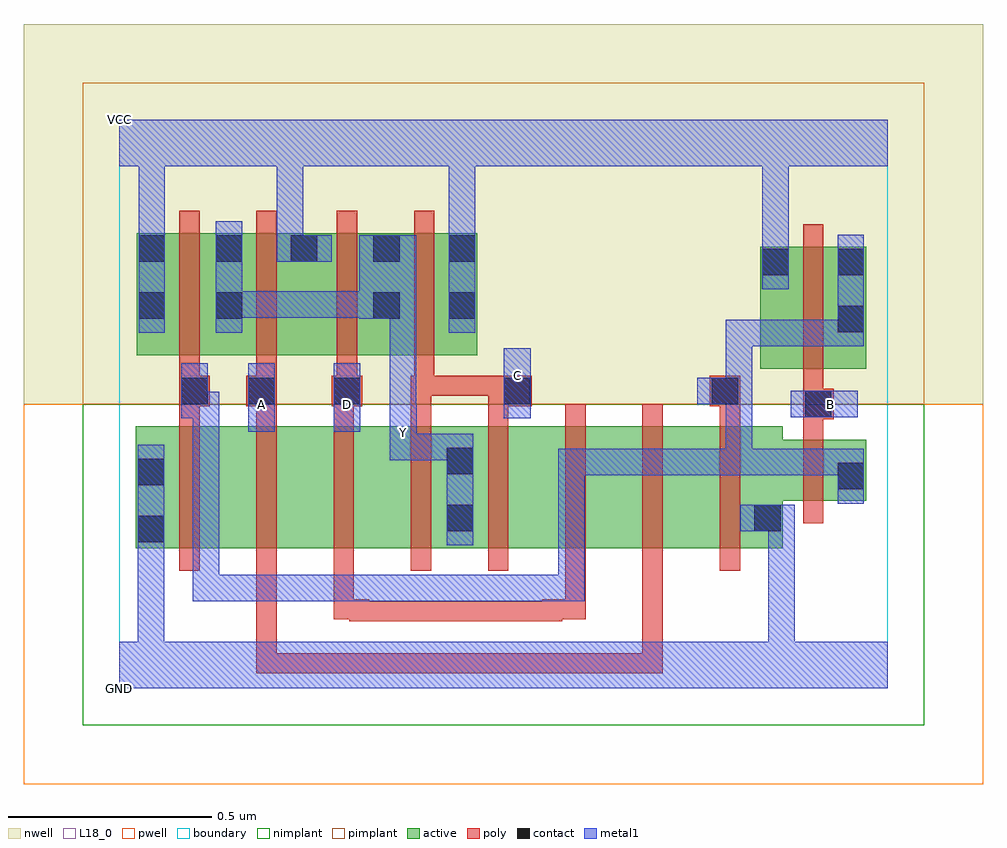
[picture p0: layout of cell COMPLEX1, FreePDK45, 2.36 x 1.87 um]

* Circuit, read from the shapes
.subckt COMPLEX1 A B C D GND VCC Y
M1 n1 n2 GND VSUBS nfet w=0.3u l=0.05u
M2 n3 A n1 VSUBS nfet w=0.3u l=0.05u
M3 n4 D n3 VSUBS nfet w=0.3u l=0.05u
M4 Y C n4 VSUBS nfet w=0.3u l=0.05u
M5 n5 C Y VSUBS nfet w=0.3u l=0.05u
M6 n6 D n5 VSUBS nfet w=0.3u l=0.05u
M7 n7 A n6 VSUBS nfet w=0.3u l=0.05u
M8 GND n2 n7 VSUBS nfet w=0.3u l=0.05u
M9 n2 B GND VSUBS nfet w=0.15u l=0.05u
M10 Y n2 VCC n8 pfet w=0.3u l=0.05u
M11 VCC A Y n8 pfet w=0.3u l=0.05u
M12 Y D VCC n8 pfet w=0.3u l=0.05u
M13 VCC C Y n8 pfet w=0.3u l=0.05u
M14 n2 B VCC n8 pfet w=0.3u l=0.05u
.ends

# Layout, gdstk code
import gdstk
lib = gdstk.Library(unit=1e-6, precision=1e-09)
def R(c, l, rs):  # rectangles x0, y0, x1, y1
    for r in rs: c.add(gdstk.rectangle(r[:2], r[2:], *l))
def A(c, l, x, y, w, h, nx, ny, dx, dy):  # array of equal rectangles
    R(c, l, [(x+i*dx, y+j*dy, x+i*dx+w, y+j*dy+h) for i in range(nx) for j in range(ny)])
active = (1, 0)
pwell = (2, 0)
nwell = (3, 0)
nimplant = (4, 0)
pimplant = (5, 0)
poly = (9, 0)
contact = (10, 0)
metal1 = (11, 0)
L18_0 = (18, 0)
boundary = (235, 0)

complex1 = lib.new_cell('COMPLEX1')
R(complex1, active, [(0.04,0.345,0.267,0.645), (0.04,0.345,0.115,0.645), (0.267,0.345,0.457,0.645), (0.457,0.345,0.647,0.645), (0.647,0.345,0.875,0.645), (0.8,0.345,1.027,0.645), (0.8,0.345,0.875,0.645), (1.027,0.345,1.217,0.645), (1.217,0.345,1.407,0.645), (1.407,0.345,1.632,0.645), (1.557,0.345,1.632,0.462), (1.557,0.462,1.837,0.612), (1.762,0.485,1.837,0.612), (1.577,0.787,1.652,1.087), (1.577,0.787,1.837,1.087), (1.762,0.787,1.837,1.087), (0.042,0.82,0.117,1.12), (0.042,0.82,0.307,1.12), (0.232,0.82,0.307,1.12), (0.232,0.82,0.492,1.12), (0.417,0.82,0.695,1.12), (0.62,0.82,0.695,1.12), (0.62,0.82,0.88,1.12), (0.805,0.82,0.88,1.12), (0.417,0.872,0.492,1.12)])
R(complex1, pwell, [(-0.235,-0.235,2.125,0.7)])
R(complex1, nwell, [(-0.235,0.7,2.125,1.635)])
R(complex1, nimplant, [(-0.09,-0.09,1.98,0.7)])
R(complex1, pimplant, [(-0.09,0.7,1.98,1.49)])
A(complex1, poly, 0.147, 0.29, 0.05, 0.41, 8, 1, 0.19, 0)
A(complex1, poly, 0.147, 0.65, 0.05, 0.095, 3, 1, 0.19, 0)
R(complex1, poly, [(0.337,0.037,0.387,0.34), (0.337,0.037,0.387,0.087), (0.337,0.037,0.387,0.087), (0.337,0.037,0.387,0.087), (0.337,0.037,0.387,0.087), (0.337,0.037,0.387,0.087), (0.337,0.037,0.52,0.087), (0.47,0.037,0.52,0.087), (0.47,0.037,0.52,0.087), (0.47,0.037,0.52,0.087), (0.47,0.037,0.825,0.087), (0.775,0.037,0.825,0.087), (0.775,0.037,0.825,0.087), (0.775,0.037,0.825,0.087), (0.775,0.037,1.015,0.087), (0.965,0.037,1.015,0.087), (0.965,0.037,1.015,0.087), (0.965,0.037,1.015,0.087), (0.965,0.037,1.185,0.087), (1.135,0.037,1.185,0.087), (1.135,0.037,1.337,0.087), (1.287,0.037,1.337,0.34), (1.287,0.037,1.337,0.087), (1.287,0.037,1.337,0.087), (1.287,0.037,1.337,0.087), (1.287,0.037,1.337,0.087), (1.287,0.037,1.337,0.087), (0.565,0.165,0.615,0.22), (0.565,0.165,0.825,0.215), (0.775,0.165,0.825,0.215), (0.775,0.165,0.865,0.215), (0.815,0.165,0.865,0.215), (0.815,0.165,0.957,0.215), (0.907,0.165,0.957,0.215), (0.907,0.165,1.09,0.215), (1.04,0.165,1.09,0.22), (0.527,0.17,0.577,0.22), (0.527,0.17,0.577,0.34), (0.527,0.17,0.615,0.22), (1.04,0.17,1.147,0.22), (1.097,0.17,1.147,0.22), (1.097,0.17,1.147,0.34), (1.682,0.407,1.732,0.667), (1.682,0.617,1.732,0.712), (0.717,0.65,0.767,0.77), (0.907,0.65,0.957,0.745), (1.477,0.65,1.527,0.745), (1.682,0.662,1.757,0.737), (1.682,0.687,1.732,0.782), (0.147,0.695,0.222,0.77), (0.312,0.695,0.387,0.77), (0.522,0.695,0.597,0.77), (0.907,0.695,1.015,0.77), (1.452,0.695,1.527,0.77), (0.147,0.72,0.197,0.815), (0.337,0.72,0.387,0.815), (0.535,0.72,0.585,0.815), (0.717,0.72,0.775,0.77), (0.725,0.72,0.775,0.815), (0.725,0.72,0.775,0.77), (0.725,0.72,0.775,0.77), (0.725,0.72,0.957,0.77), (1.682,0.732,1.732,1.142), (0.147,0.765,0.197,1.175), (0.337,0.765,0.387,1.175), (0.535,0.765,0.585,1.175), (0.725,0.765,0.775,1.175)])
R(complex1, contact, [(0.045,0.36,0.11,0.425), (0.805,0.387,0.87,0.452), (1.562,0.387,1.627,0.452), (1.767,0.49,1.832,0.555), (0.045,0.5,0.11,0.565), (0.805,0.527,0.87,0.592), (1.687,0.667,1.752,0.732), (0.152,0.7,0.217,0.765), (0.317,0.7,0.382,0.765), (0.527,0.7,0.592,0.765), (0.945,0.7,1.01,0.765), (1.457,0.7,1.522,0.765), (1.767,0.877,1.832,0.942), (0.047,0.91,0.112,0.975), (0.237,0.91,0.302,0.975), (0.625,0.91,0.69,0.975), (0.81,0.91,0.875,0.975), (1.582,1.017,1.647,1.082), (1.767,1.017,1.832,1.082), (0.047,1.05,0.112,1.115), (0.237,1.05,0.302,1.115), (0.422,1.05,0.487,1.115), (0.625,1.05,0.69,1.115), (0.81,1.05,0.875,1.115)])
R(complex1, metal1, [(0,0,1.89,0.115), (0.045,0.05,0.11,0.115), (0.045,0.05,0.11,0.115), (0.045,0.05,0.11,0.115), (0.045,0.05,0.11,0.115), (0.045,0.05,0.11,0.39), (1.597,0.05,1.662,0.115), (1.597,0.05,1.662,0.115), (1.597,0.05,1.662,0.452), (0.18,0.215,0.245,0.28), (0.18,0.215,0.455,0.28), (0.18,0.215,0.245,0.73), (0.39,0.215,0.455,0.28), (0.39,0.215,0.455,0.28), (0.39,0.215,0.455,0.28), (0.39,0.215,0.592,0.28), (0.527,0.215,0.592,0.28), (0.527,0.215,0.592,0.28), (0.527,0.215,0.592,0.28), (0.527,0.215,0.592,0.28), (0.527,0.215,0.592,0.28), (0.527,0.215,0.87,0.28), (0.805,0.215,0.87,0.28), (0.805,0.215,0.87,0.28), (0.805,0.215,0.87,0.28), (0.805,0.215,1.007,0.28), (0.942,0.215,1.007,0.28), (0.942,0.215,1.145,0.28), (1.08,0.215,1.145,0.28), (1.08,0.215,1.145,0.59), (0.045,0.325,0.11,0.6), (0.805,0.352,0.87,0.627), (1.527,0.387,1.662,0.452), (1.597,0.387,1.662,0.452), (1.597,0.387,1.662,0.452), (1.767,0.455,1.832,0.59), (1.08,0.525,1.145,0.59), (1.08,0.525,1.145,0.59), (1.08,0.525,1.145,0.59), (1.08,0.525,1.282,0.59), (1.217,0.525,1.282,0.59), (1.217,0.525,1.282,0.59), (1.217,0.525,1.282,0.59), (1.217,0.525,1.42,0.59), (1.355,0.525,1.42,0.59), (1.355,0.525,1.557,0.59), (1.492,0.525,1.557,0.59), (1.492,0.525,1.557,0.59), (1.492,0.525,1.557,0.59), (1.492,0.525,1.832,0.59), (1.492,0.525,1.557,0.765), (1.767,0.525,1.832,0.59), (1.767,0.525,1.832,0.59), (0.665,0.562,0.732,0.697), (0.667,0.562,0.87,0.627), (0.805,0.562,0.87,0.627), (0.805,0.562,0.87,0.627), (0.805,0.562,0.87,0.627), (0.805,0.562,0.87,0.627), (0.317,0.632,0.382,0.8), (0.527,0.632,0.592,0.8), (0.665,0.632,0.73,0.975), (0.152,0.665,0.217,0.8), (0.152,0.665,0.245,0.73), (0.18,0.665,0.245,0.73), (0.945,0.665,1.012,0.837), (1.652,0.667,1.817,0.732), (1.422,0.7,1.557,0.765), (1.492,0.7,1.557,0.765), (1.492,0.7,1.557,0.765), (1.492,0.7,1.557,0.907), (1.492,0.842,1.557,0.907), (1.492,0.842,1.832,0.907), (1.767,0.842,1.832,0.907), (1.767,0.842,1.832,0.907), (1.767,0.842,1.832,1.117), (0.047,0.875,0.112,1.15), (0.237,0.875,0.302,1.15), (0.81,0.875,0.875,1.15), (0.59,0.91,0.73,1.115), (0.237,0.912,0.44,0.977), (0.375,0.912,0.44,0.977), (0.375,0.912,0.44,0.977), (0.375,0.912,0.44,0.977), (0.375,0.912,0.655,0.977), (0.59,0.912,0.655,0.977), (0.59,0.912,0.655,0.977), (1.582,0.982,1.647,1.117), (0.387,1.05,0.522,1.115), (0.387,1.05,0.452,1.35), (1.582,1.052,1.647,1.117), (1.582,1.052,1.647,1.117), (1.582,1.052,1.647,1.35), (0.047,1.085,0.112,1.35), (0.81,1.085,0.875,1.35), (0,1.285,1.89,1.4), (0.047,1.285,0.112,1.35), (0.047,1.285,0.112,1.35), (0.387,1.285,0.452,1.35), (0.387,1.285,0.452,1.35), (0.81,1.285,0.875,1.35), (0.81,1.285,0.875,1.35)])
R(complex1, L18_0, [(0,0,1.89,0.115), (0.045,0.05,0.11,0.115), (0.045,0.05,0.11,0.115), (0.045,0.05,0.11,0.115), (0.045,0.05,0.11,0.115), (0.045,0.05,0.11,0.39), (1.597,0.05,1.662,0.115), (1.597,0.05,1.662,0.115), (1.597,0.05,1.662,0.452), (0.045,0.325,0.11,0.6), (0.805,0.352,0.87,0.627), (1.527,0.387,1.662,0.452), (1.597,0.387,1.662,0.452), (1.597,0.387,1.662,0.452), (0.665,0.562,0.732,0.697), (0.667,0.562,0.87,0.627), (0.805,0.562,0.87,0.627), (0.805,0.562,0.87,0.627), (0.805,0.562,0.87,0.627), (0.805,0.562,0.87,0.627), (0.667,0.597,0.732,0.662), (0.317,0.632,0.382,0.8), (0.527,0.632,0.592,0.8), (0.665,0.632,0.73,0.975), (0.945,0.665,1.012,0.837), (0.317,0.667,0.382,0.732), (0.527,0.667,0.592,0.732), (1.652,0.667,1.817,0.732), (1.717,0.667,1.782,0.732), (0.947,0.737,1.012,0.802), (0.047,0.875,0.112,1.15), (0.237,0.875,0.302,1.15), (0.81,0.875,0.875,1.15), (0.59,0.91,0.73,1.115), (0.237,0.912,0.44,0.977), (0.375,0.912,0.44,0.977), (0.375,0.912,0.44,0.977), (0.375,0.912,0.44,0.977), (0.375,0.912,0.655,0.977), (0.59,0.912,0.655,0.977), (0.59,0.912,0.655,0.977), (1.582,0.982,1.647,1.117), (0.387,1.05,0.522,1.115), (0.387,1.05,0.452,1.35), (1.582,1.052,1.647,1.117), (1.582,1.052,1.647,1.117), (1.582,1.052,1.647,1.35), (0.047,1.085,0.112,1.35), (0.81,1.085,0.875,1.35), (0,1.285,1.89,1.4), (0.047,1.285,0.112,1.35), (0.047,1.285,0.112,1.35), (0.387,1.285,0.452,1.35), (0.387,1.285,0.452,1.35), (0.81,1.285,0.875,1.35), (0.81,1.285,0.875,1.35)])
R(complex1, boundary, [(0,0,1.89,1.4)])
complex1.add(gdstk.Label('A', (0.35,0.7), layer=11, texttype=0))
complex1.add(gdstk.Label('B', (1.75,0.7), layer=11, texttype=0))
complex1.add(gdstk.Label('C', (0.98,0.77), layer=11, texttype=0))
complex1.add(gdstk.Label('D', (0.56,0.7), layer=11, texttype=0))
complex1.add(gdstk.Label('Y', (0.7,0.63), layer=11, texttype=0))
complex1.add(gdstk.Label('VCC', (0,1.4), layer=11, texttype=0))
complex1.add(gdstk.Label('GND', (0,0), layer=11, texttype=0))

lib.write_gds('COMPLEX1.gds')
